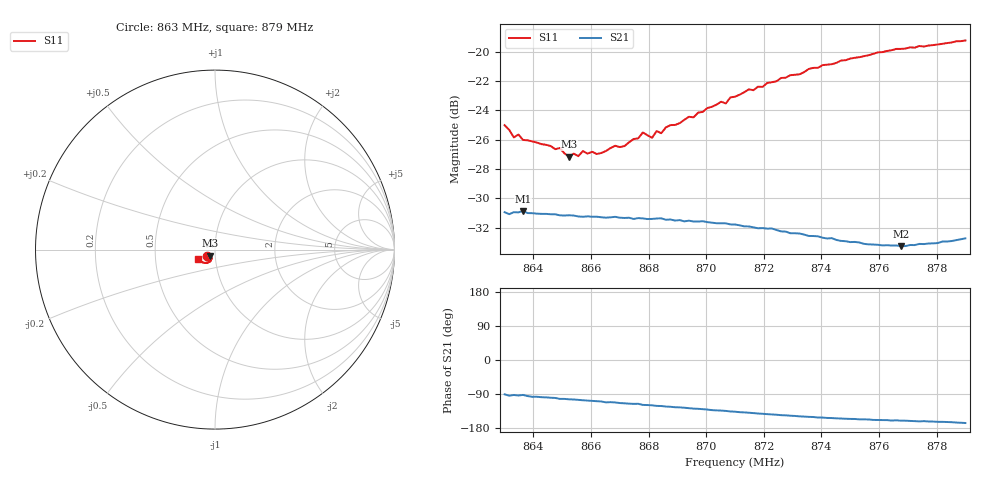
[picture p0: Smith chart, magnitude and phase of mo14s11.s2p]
# HZ S RI R 50
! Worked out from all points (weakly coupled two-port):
!   101 points, 863 MHz to 879 MHz, reference 50 ohm
!   highest |S21| = -30.86 dB at 863.64 MHz (marker M1); lowest = -33.3 dB at 876.76 MHz (marker M2)
!   lowest |S11| = -27.2 dB at 865.24 MHz (marker M3), VSWR 1.09, Z = 47.1 - j3.12 ohm
!   |S11| at or under -10 dB: start of sweep to end of sweep
!   S12 and S22 are empty: the file has one direction only
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8.63e8  -0.0453 -0.0332  -0.000288 -0.0284  0 0  0 0
8.6332e8  -0.0433 -0.0269  -0.00114 -0.0283  0 0  0 0
8.6348e8  -0.0416 -0.0315  -0.00183 -0.0283  0 0  0 0
8.6364e8  -0.0388 -0.0315  -0.00108 -0.0286  0 0  0 0
8.6492e8  -0.0325 -0.0339  -0.00606 -0.027  0 0  0 0
8.6524e8  -0.0288 -0.033  -0.00657 -0.0269  0 0  0 0
8.654e8  -0.0281 -0.0351  -0.00679 -0.0268  0 0  0 0
8.6556e8  -0.0279 -0.034  -0.0072 -0.0265  0 0  0 0
8.6572e8  -0.0267 -0.0372  -0.00764 -0.0263  0 0  0 0
8.662e8  -0.0252 -0.037  -0.00878 -0.0259  0 0  0 0
8.6684e8  -0.0236 -0.0415  -0.0103 -0.0254  0 0  0 0
8.6716e8  -0.0203 -0.0431  -0.0111 -0.0247  0 0  0 0
8.678e8  -0.0237 -0.0474  -0.0129 -0.0237  0 0  0 0
8.6812e8  -0.0197 -0.0469  -0.0133 -0.0234  0 0  0 0
8.6828e8  -0.0199 -0.0498  -0.0139 -0.0231  0 0  0 0
8.6844e8  -0.0204 -0.0486  -0.0141 -0.0231  0 0  0 0
8.686e8  -0.0194 -0.0516  -0.0145 -0.0225  0 0  0 0
8.71e8  -0.0274 -0.0646  -0.0187 -0.0177  0 0  0 0
8.7372e8  -0.0452 -0.0755  -0.0205 -0.0116  0 0  0 0
8.7644e8  -0.0738 -0.069  -0.0205 -0.00751  0 0  0 0
8.7676e8  -0.0771 -0.0669  -0.0204 -0.00738  0 0  0 0
8.79e8  -0.0962 -0.0515  -0.0224 -0.00549  0 0  0 0
